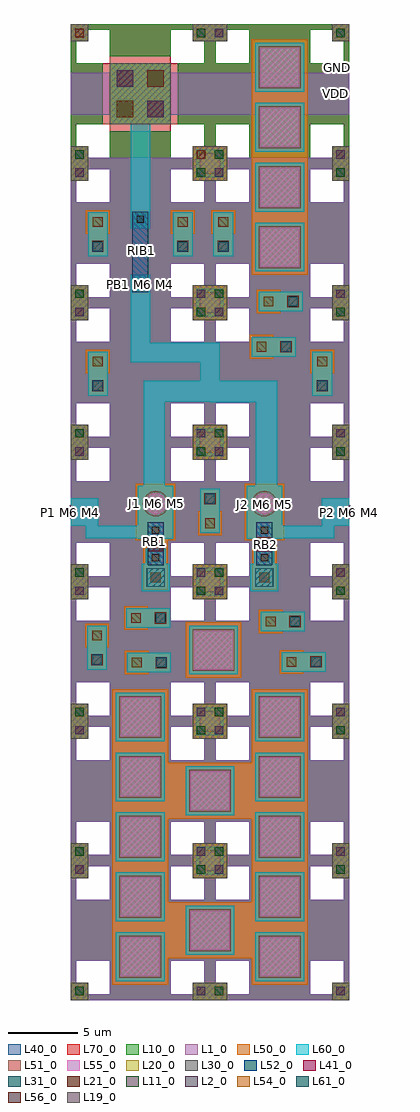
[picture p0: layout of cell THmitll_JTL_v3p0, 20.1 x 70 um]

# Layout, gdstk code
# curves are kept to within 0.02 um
from math import pi, radians
import gdstk
lib = gdstk.Library(unit=1e-6, precision=1e-09)
def R(c, l, rs):  # rectangles x0, y0, x1, y1
    for r in rs: c.add(gdstk.rectangle(r[:2], r[2:], *l))
def P(c, l, *ps):  # polygons
    for p in ps: c.add(gdstk.Polygon(p, *l))
L1_0 = (1, 0)
L2_0 = (2, 0)
L10_0 = (10, 0)
L11_0 = (11, 0)
L19_0 = (19, 0)
L20_0 = (20, 0)
L21_0 = (21, 0)
L30_0 = (30, 0)
L31_0 = (31, 0)
L40_0 = (40, 0)
L41_0 = (41, 0)
L50_0 = (50, 0)
L51_0 = (51, 0)
L52_0 = (52, 0)
L54_0 = (54, 0)
L55_0 = (55, 0)
L56_0 = (56, 0)
L60_0 = (60, 0)
L61_0 = (61, 0)
L70_0 = (70, 0)

ls_tr_m7_1 = lib.new_cell('ls_tr_M7$1')
P(ls_tr_m7_1, L70_0, [(0,0),(0,10),(1.25,10),(1.25,8.75),(0.4,8.75),(0.4,1.25),(1.25,1.25),(1.25,0.4),(2.8,0.4),(2.8,2.8),(0.4,2.8),(0.4,7.2),(2.8,7.2),(2.8,9.6),(1.25,9.6),(1.25,10),(7.2,10),(7.2,0.4),(8.75,0.4),(8.75,1.25),(9.6,1.25),(9.6,2.8),(7.2,2.8),(7.2,7.2),(9.6,7.2),(9.6,8.75),(8.75,8.75),(8.75,9.6),(7.2,9.6),(7.2,10),(10,10),(10,0)])

ls_tr_u_m4_nptl = lib.new_cell('ls_tr_u_M4_NPTL')
P(ls_tr_u_m4_nptl, L1_0, [(0,0),(0,10),(1.25,10),(1.25,8.75),(0.4,8.75),(0.4,1.25),(1.25,1.25),(1.25,0.4),(2.8,0.4),(2.8,2.8),(0.4,2.8),(0.4,7.2),(2.8,7.2),(2.8,9.6),(1.25,9.6),(1.25,10),(7.2,10),(7.2,0.4),(8.75,0.4),(8.75,1.25),(9.6,1.25),(9.6,2.8),(7.2,2.8),(7.2,7.2),(9.6,7.2),(9.6,8.75),(8.75,8.75),(8.75,9.6),(7.2,9.6),(7.2,10),(10,10),(10,0)])
R(ls_tr_u_m4_nptl, L2_0, [(9.05,0.35,9.65,0.95), (0.35,9.05,0.95,9.65)])
R(ls_tr_u_m4_nptl, L10_0, [(0,0,1.25,1.25), (8.75,0,10,1.25), (0,8.75,1.25,10), (8.75,8.75,10,10)])
P(ls_tr_u_m4_nptl, L10_0, [(1.25,0),(1.25,0.4),(2.8,0.4),(2.8,2.8),(0.4,2.8),(0.4,1.25),(0,1.25),(0,8.75),(0.4,8.75),(0.4,7.2),(2.8,7.2),(2.8,9.6),(1.25,9.6),(1.25,10),(8.75,10),(8.75,9.6),(7.2,9.6),(7.2,7.2),(9.6,7.2),(9.6,8.75),(10,8.75),(10,1.25),(9.6,1.25),(9.6,2.8),(7.2,2.8),(7.2,0.4),(8.75,0.4),(8.75,0)])
R(ls_tr_u_m4_nptl, L11_0, [(0.35,0.35,0.95,0.95), (9.05,9.05,9.65,9.65)])
R(ls_tr_u_m4_nptl, L20_0, [(0,0,1.25,1.25), (8.75,0,10,1.25), (0,8.75,1.25,10), (8.75,8.75,10,10)])
R(ls_tr_u_m4_nptl, L21_0, [(9.05,0.35,9.65,0.95), (0.35,9.05,0.95,9.65)])
R(ls_tr_u_m4_nptl, L30_0, [(0,0,1.25,1.25), (8.75,0,10,1.25), (0,8.75,1.25,10), (8.75,8.75,10,10)])
R(ls_tr_u_m4_nptl, L31_0, [(0.35,0.35,0.95,0.95), (9.05,9.05,9.65,9.65)])
P(ls_tr_u_m4_nptl, L40_0, [(0,0),(0,10),(1.25,10),(1.25,8.75),(0.4,8.75),(0.4,1.25),(1.25,1.25),(1.25,0.4),(2.8,0.4),(2.8,2.8),(0.4,2.8),(0.4,7.2),(2.8,7.2),(2.8,9.6),(1.25,9.6),(1.25,10),(7.2,10),(7.2,0.4),(8.75,0.4),(8.75,1.25),(9.6,1.25),(9.6,2.8),(7.2,2.8),(7.2,7.2),(9.6,7.2),(9.6,8.75),(8.75,8.75),(8.75,9.6),(7.2,9.6),(7.2,10),(10,10),(10,0)])
ls_tr_u_m4_nptl.add(gdstk.Reference(ls_tr_m7_1, (0,0)))

ls_tr_bias_pillar_m0m6 = lib.new_cell('ls_tr_bias_pillar_M0M6')
R(ls_tr_bias_pillar_m0m6, L1_0, [(0,0,1.25,1.25), (8.75,0,10,1.25), (2.8,2.8,7.2,7.2), (0,8.75,1.25,10), (8.75,8.75,10,10)])
R(ls_tr_bias_pillar_m0m6, L2_0, [(5.5,3.3,6.7,4.5), (3.3,5.5,4.5,6.7)])
R(ls_tr_bias_pillar_m0m6, L10_0, [(0,0,1.25,1.25), (8.75,0,10,1.25), (2.8,2.8,7.2,7.2), (0,8.75,1.25,10), (8.75,8.75,10,10)])
P(ls_tr_bias_pillar_m0m6, L10_0, [(0,0),(0,10),(7.2,10),(7.2,7.7),(2.8,7.7),(2.8,9.6),(1.25,9.6),(1.25,8.75),(0.4,8.75),(0.4,7.2),(2.3,7.2),(2.3,2.8),(0.4,2.8),(0.4,1.25),(1.25,1.25),(1.25,0.4),(2.8,0.4),(2.8,2.3),(7.2,2.3),(7.2,0.4),(8.75,0.4),(8.75,1.25),(9.6,1.25),(9.6,2.8),(7.7,2.8),(7.7,7.2),(9.6,7.2),(9.6,8.75),(8.75,8.75),(8.75,9.6),(7.2,9.6),(7.2,10),(10,10),(10,0)])
R(ls_tr_bias_pillar_m0m6, L11_0, [(0.35,0.35,0.95,0.95), (3.3,3.3,4.5,4.5), (5.5,5.5,6.7,6.7), (9.05,9.05,9.65,9.65)])
R(ls_tr_bias_pillar_m0m6, L20_0, [(0,0,1.25,1.25), (8.75,0,10,1.25), (2.8,2.8,7.2,7.2), (0,8.75,1.25,10), (8.75,8.75,10,10)])
R(ls_tr_bias_pillar_m0m6, L21_0, [(9.05,0.35,9.65,0.95), (5.5,3.3,6.7,4.5), (3.3,5.5,4.5,6.7), (0.35,9.05,0.95,9.65)])
R(ls_tr_bias_pillar_m0m6, L30_0, [(0,0,1.25,1.25), (8.75,0,10,1.25), (2.8,2.8,7.2,7.2), (0,8.75,1.25,10), (8.75,8.75,10,10)])
R(ls_tr_bias_pillar_m0m6, L31_0, [(0.35,0.35,0.95,0.95), (3.3,3.3,4.5,4.5), (5.5,5.5,6.7,6.7), (9.05,9.05,9.65,9.65)])
R(ls_tr_bias_pillar_m0m6, L40_0, [(2.8,2.8,7.2,7.2)])
P(ls_tr_bias_pillar_m0m6, L40_0, [(0,0),(0,10),(7.2,10),(7.2,7.7),(2.8,7.7),(2.8,9.6),(1.25,9.6),(1.25,8.75),(0.4,8.75),(0.4,7.2),(2.3,7.2),(2.3,2.8),(0.4,2.8),(0.4,1.25),(1.25,1.25),(1.25,0.4),(2.8,0.4),(2.8,2.3),(7.2,2.3),(7.2,0.4),(8.75,0.4),(8.75,1.25),(9.6,1.25),(9.6,2.8),(7.7,2.8),(7.7,7.2),(9.6,7.2),(9.6,8.75),(8.75,8.75),(8.75,9.6),(7.2,9.6),(7.2,10),(10,10),(10,0)])
R(ls_tr_bias_pillar_m0m6, L41_0, [(5.5,3.3,6.7,4.5), (3.3,5.5,4.5,6.7)])
R(ls_tr_bias_pillar_m0m6, L50_0, [(2.8,2.8,7.2,7.2)])
R(ls_tr_bias_pillar_m0m6, L54_0, [(3.3,3.3,4.5,4.5), (5.5,5.5,6.7,6.7)])
R(ls_tr_bias_pillar_m0m6, L60_0, [(2.8,2.8,7.2,7.2)])
P(ls_tr_bias_pillar_m0m6, L70_0, [(0,0),(0,10),(1.25,10),(1.25,8.75),(0.4,8.75),(0.4,1.25),(1.25,1.25),(1.25,0.4),(2.8,0.4),(2.8,2.8),(0.4,2.8),(0.4,7.2),(2.8,7.2),(2.8,9.6),(1.25,9.6),(1.25,10),(7.2,10),(7.2,0.4),(8.75,0.4),(8.75,1.25),(9.6,1.25),(9.6,2.8),(7.2,2.8),(7.2,7.2),(9.6,7.2),(9.6,8.75),(8.75,8.75),(8.75,9.6),(7.2,9.6),(7.2,10),(10,10),(10,0)])

ls_tr_m7 = lib.new_cell('ls_tr_M7')
P(ls_tr_m7, L70_0, [(0,0),(0,10),(1.25,10),(1.25,8.75),(0.4,8.75),(0.4,1.25),(1.25,1.25),(1.25,0.4),(2.8,0.4),(2.8,2.8),(0.4,2.8),(0.4,7.2),(2.8,7.2),(2.8,9.6),(1.25,9.6),(1.25,10),(7.2,10),(7.2,0.4),(8.75,0.4),(8.75,1.25),(9.6,1.25),(9.6,2.8),(7.2,2.8),(7.2,7.2),(9.6,7.2),(9.6,8.75),(8.75,8.75),(8.75,9.6),(7.2,9.6),(7.2,10),(10,10),(10,0)])

ls_tr_u_m4_alt = lib.new_cell('ls_tr_u_M4_alt')
R(ls_tr_u_m4_alt, L1_0, [(0,0,1.25,1.25), (8.75,0,10,1.25), (0,8.75,1.25,10), (8.75,8.75,10,10)])
R(ls_tr_u_m4_alt, L2_0, [(9.05,0.35,9.65,0.95), (0.35,9.05,0.95,9.65)])
R(ls_tr_u_m4_alt, L10_0, [(0,0,1.25,1.25), (1.25,0,8.75,0.4), (8.75,0,10,1.25), (2.8,0.4,7.2,9.6), (0,1.25,0.4,8.75), (9.6,1.25,10,8.75), (0.4,2.8,2.8,7.2), (7.2,2.8,9.6,7.2), (0,8.75,1.25,10), (8.75,8.75,10,10), (1.25,9.6,8.75,10)])
R(ls_tr_u_m4_alt, L11_0, [(0.35,0.35,0.95,0.95), (9.05,9.05,9.65,9.65)])
R(ls_tr_u_m4_alt, L20_0, [(0,0,1.25,1.25), (8.75,0,10,1.25), (0,8.75,1.25,10), (8.75,8.75,10,10)])
R(ls_tr_u_m4_alt, L21_0, [(9.05,0.35,9.65,0.95), (0.35,9.05,0.95,9.65)])
R(ls_tr_u_m4_alt, L30_0, [(0,0,1.25,1.25), (8.75,0,10,1.25), (0,8.75,1.25,10), (8.75,8.75,10,10)])
R(ls_tr_u_m4_alt, L31_0, [(0.35,0.35,0.95,0.95), (9.05,9.05,9.65,9.65)])
P(ls_tr_u_m4_alt, L40_0, [(0,0),(0,10),(1.25,10),(1.25,8.75),(0.4,8.75),(0.4,1.25),(1.25,1.25),(1.25,0.4),(2.8,0.4),(2.8,2.8),(0.4,2.8),(0.4,7.2),(2.8,7.2),(2.8,9.6),(1.25,9.6),(1.25,10),(7.2,10),(7.2,0.4),(8.75,0.4),(8.75,1.25),(9.6,1.25),(9.6,2.8),(7.2,2.8),(7.2,7.2),(9.6,7.2),(9.6,8.75),(8.75,8.75),(8.75,9.6),(7.2,9.6),(7.2,10),(10,10),(10,0)])
ls_tr_u_m4_alt.add(gdstk.Reference(ls_tr_m7, (0,0)))

ls_conn_m5m6m7 = lib.new_cell('ls_conn_M5M6M7')
R(ls_conn_m5m6m7, L60_0, [(-0.65,-0.65,1.35,1.35)])
R(ls_conn_m5m6m7, L61_0, [(-0.3,-0.3,1,1)])
R(ls_conn_m5m6m7, L70_0, [(-0.65,-0.65,1.35,1.35)])

th_jj_250_sg = lib.new_cell('th_jj_250_sg')
R(th_jj_250_sg, L41_0, [(-0.5,2.4,0.5,3.4)])
R(th_jj_250_sg, L50_0, [(-1.425,-1.425,1.425,2.625), (-0.875,2.625,0.875,6.175)])
P(th_jj_250_sg, L51_0, [(0,-0.91),(-0.18,-0.895),(-0.35,-0.84),(-0.645,-0.645),(-0.84,-0.35),(-0.91,0),(-0.895,0.18),(-0.84,0.35),(-0.645,0.645),(-0.35,0.84),(-0.18,0.895),(0,0.91),(0.18,0.895),(0.35,0.84),(0.645,0.645),(0.84,0.35),(0.895,0.18),(0.91,0),(0.84,-0.35),(0.645,-0.645),(0.35,-0.84),(0.18,-0.895)])
R(th_jj_250_sg, L52_0, [(-0.575,1.35,0.575,4.425)])
R(th_jj_250_sg, L54_0, [(-0.35,4.95,0.35,5.65)])
P(th_jj_250_sg, L55_0, [(0,-0.76),(-0.15,-0.75),(-0.29,-0.7),(-0.54,-0.54),(-0.7,-0.29),(-0.75,-0.15),(-0.76,0),(-0.75,0.15),(-0.7,0.29),(-0.54,0.54),(-0.29,0.7),(-0.15,0.75),(0,0.76),(0.15,0.75),(0.29,0.7),(0.54,0.54),(0.7,0.29),(0.75,0.15),(0.76,0),(0.75,-0.15),(0.7,-0.29),(0.54,-0.54),(0.29,-0.7),(0.15,-0.75)])
R(th_jj_250_sg, L56_0, [(-0.26,1.64,0.26,2.16), (-0.26,3.63,0.26,4.15)])
R(th_jj_250_sg, L60_0, [(-1.275,-1.275,1.275,2.525), (-0.725,3.25,0.725,6.025)])
th_jj_250_sg.add(gdstk.Reference(ls_conn_m5m6m7, (0.35,5.65), rotation=pi))

th_ib_350 = lib.new_cell('th_ib_350')
R(th_ib_350, L52_0, [(-0.575,0,0.575,5.8)])
R(th_ib_350, L56_0, [(-0.26,0.29,0.26,0.81), (-0.26,4.99,0.26,5.51)])
R(th_ib_350, L60_0, [(-0.625,-0.1,0.625,1.175), (-0.625,4.625,0.625,5.9)])

ls_fakejj_3umx3um = lib.new_cell('ls_FakeJJ_3umx3um')
R(ls_fakejj_3umx3um, L40_0, [(-2,-2,2,2)])
R(ls_fakejj_3umx3um, L50_0, [(-2,-2,2,2)])
R(ls_fakejj_3umx3um, L51_0, [(-1.5,-1.5,1.5,1.5)])
R(ls_fakejj_3umx3um, L55_0, [(-1.4,-1.4,1.4,1.4)])
R(ls_fakejj_3umx3um, L60_0, [(-1.75,-1.75,1.75,1.75)])

ls_fakejj_1p5x1p5um = lib.new_cell('ls_FakeJJ_1p5x1p5um')
R(ls_fakejj_1p5x1p5um, L40_0, [(-1.25,-1.25,1.25,1.25)])
R(ls_fakejj_1p5x1p5um, L50_0, [(-1.25,-1.25,1.25,1.25)])
R(ls_fakejj_1p5x1p5um, L51_0, [(-0.75,-0.75,0.75,0.75)])
R(ls_fakejj_1p5x1p5um, L55_0, [(-0.65,-0.65,0.65,0.65)])
R(ls_fakejj_1p5x1p5um, L60_0, [(-1,-1,1,1)])

ls_conn_m4m5m6m7 = lib.new_cell('ls_conn_M4M5M6M7')
R(ls_conn_m4m5m6m7, L40_0, [(0,0,1.4,1.4)])
R(ls_conn_m4m5m6m7, L41_0, [(0.3,0.3,1.1,1.1)])
P(ls_conn_m4m5m6m7, L50_0, [(1.6,-0.15),(1.6,0),(0,0),(0,1.4),(1.6,1.4),(1.6,1.55),(3.3,1.55),(3.3,-0.15)])
R(ls_conn_m4m5m6m7, L54_0, [(2.1,0.35,2.8,1.05)])
R(ls_conn_m4m5m6m7, L60_0, [(0,0,3.15,1.4)])
R(ls_conn_m4m5m6m7, L61_0, [(0.35,0.35,1.05,1.05)])
R(ls_conn_m4m5m6m7, L70_0, [(0,0,1.4,1.4)])

thmitll_jtl_v3p0 = lib.new_cell('THmitll_JTL_v3p0')
R(thmitll_jtl_v3p0, L1_0, [(1.25,60,8.75,60.4), (11.25,60,18.75,60.4)])
R(thmitll_jtl_v3p0, L19_0, [(4.75,51.05,5.25,51.55)])
R(thmitll_jtl_v3p0, L50_0, [(3,1.1,7,22.3), (13,1.1,17,22.3), (6.9,3,13.1,7), (6.9,13,13.1,17), (13,52,17,68.9)])
thmitll_jtl_v3p0.add(gdstk.FlexPath([(0,35),(2,35)], 2, ends="flush", simple_path=True, layer=60, datatype=0))  # L60_0
thmitll_jtl_v3p0.add(gdstk.FlexPath([(18,35),(20,35)], 2, ends="flush", simple_path=True, layer=60, datatype=0))  # L60_0
thmitll_jtl_v3p0.add(gdstk.FlexPath([(0,35),(1.55,35),(1.55,33.55),(4.95,33.55)], 0.9, ends="flush", simple_path=True, layer=60, datatype=0))  # L60_0
thmitll_jtl_v3p0.add(gdstk.FlexPath([(20,35),(18.45,35),(18.45,33.55),(15.05,33.55)], 0.9, ends="flush", simple_path=True, layer=60, datatype=0))  # L60_0
thmitll_jtl_v3p0.add(gdstk.FlexPath([(5,55.3),(5,63.05)], 1.4, ends="flush", simple_path=True, layer=60, datatype=0))  # L60_0
thmitll_jtl_v3p0.add(gdstk.FlexPath([(5,52),(5,46.45),(10,46.45),(10,43.55)], 1.4, ends="flush", simple_path=True, layer=60, datatype=0))  # L60_0
thmitll_jtl_v3p0.add(gdstk.FlexPath([(10,43.65),(14.05,43.65),(14.05,36.8)], 1.55, ends="flush", simple_path=True, layer=60, datatype=0))  # L60_0
thmitll_jtl_v3p0.add(gdstk.FlexPath([(10,43.65),(6,43.65),(6,36.75)], 1.5, ends="flush", simple_path=True, layer=60, datatype=0))  # L60_0
thmitll_jtl_v3p0.add(gdstk.FlexPath([(0,65),(20,65)], 3, ends="flush", simple_path=True, layer=1, datatype=0))  # L1_0
thmitll_jtl_v3p0.add(gdstk.FlexPath([(0,35.5),(0,34.5)], 0.1, ends="flush", simple_path=True, layer=19, datatype=0))  # L19_0
thmitll_jtl_v3p0.add(gdstk.FlexPath([(20,35.5),(20,34.5)], 0.1, ends="flush", simple_path=True, layer=19, datatype=0))  # L19_0
r = gdstk.Reference(ls_tr_u_m4_nptl, (0,0)); r.repetition = gdstk.Repetition(1, 6, v1=(0,0), v2=(0,10)); thmitll_jtl_v3p0.add(r)
r = gdstk.Reference(ls_tr_u_m4_nptl, (10,0)); r.repetition = gdstk.Repetition(1, 6, v1=(0,0), v2=(0,10)); thmitll_jtl_v3p0.add(r)
thmitll_jtl_v3p0.add(gdstk.Reference(ls_tr_bias_pillar_m0m6, (0,60)))
thmitll_jtl_v3p0.add(gdstk.Reference(ls_tr_u_m4_alt, (10,60)))
thmitll_jtl_v3p0.add(gdstk.Reference(th_jj_250_sg, (6.1,35.6), rotation=pi))
thmitll_jtl_v3p0.add(gdstk.Reference(th_jj_250_sg, (13.9,35.6), rotation=pi))
thmitll_jtl_v3p0.add(gdstk.Reference(th_ib_350, (5,56.55), rotation=pi))
r = gdstk.Reference(ls_fakejj_3umx3um, (5,20.3), rotation=pi); r.repetition = gdstk.Repetition(1, 5, v1=(0,0), v2=(0,-4.3)); thmitll_jtl_v3p0.add(r)
r = gdstk.Reference(ls_fakejj_3umx3um, (15,20.3), rotation=pi); r.repetition = gdstk.Repetition(1, 5, v1=(0,0), v2=(0,-4.3)); thmitll_jtl_v3p0.add(r)
thmitll_jtl_v3p0.add(gdstk.Reference(ls_fakejj_3umx3um, (10,15), rotation=pi))
thmitll_jtl_v3p0.add(gdstk.Reference(ls_fakejj_3umx3um, (10,5), rotation=pi))
thmitll_jtl_v3p0.add(gdstk.Reference(ls_fakejj_1p5x1p5um, (10,10), rotation=pi))
thmitll_jtl_v3p0.add(gdstk.Reference(ls_fakejj_1p5x1p5um, (10,20), rotation=pi))
thmitll_jtl_v3p0.add(gdstk.Reference(ls_fakejj_1p5x1p5um, (10,30), rotation=pi))
thmitll_jtl_v3p0.add(gdstk.Reference(ls_fakejj_1p5x1p5um, (10,40), rotation=pi))
thmitll_jtl_v3p0.add(gdstk.Reference(ls_fakejj_1p5x1p5um, (10,50), rotation=pi))
thmitll_jtl_v3p0.add(gdstk.Reference(ls_fakejj_1p5x1p5um, (10,60), rotation=pi))
thmitll_jtl_v3p0.add(gdstk.Reference(ls_conn_m4m5m6m7, (2.6,23.7), rotation=pi/2))
thmitll_jtl_v3p0.add(gdstk.Reference(ls_conn_m4m5m6m7, (7.2,24.9), rotation=pi))
thmitll_jtl_v3p0.add(gdstk.Reference(ls_conn_m4m5m6m7, (7.15,28.1), rotation=pi))
thmitll_jtl_v3p0.add(gdstk.Reference(ls_fakejj_3umx3um, (10.25,25.1), rotation=pi))
thmitll_jtl_v3p0.add(gdstk.Reference(ls_conn_m4m5m6m7, (16.8,27.85), rotation=pi))
thmitll_jtl_v3p0.add(gdstk.Reference(ls_conn_m4m5m6m7, (18.3,24.95), rotation=pi))
thmitll_jtl_v3p0.add(gdstk.Reference(ls_conn_m4m5m6m7, (9.3,36.65), rotation=3*pi/2))
thmitll_jtl_v3p0.add(gdstk.Reference(ls_conn_m4m5m6m7, (18.75,43.35), rotation=pi/2))
thmitll_jtl_v3p0.add(gdstk.Reference(ls_conn_m4m5m6m7, (2.65,43.35), rotation=pi/2))
thmitll_jtl_v3p0.add(gdstk.Reference(ls_conn_m4m5m6m7, (2.65,53.35), rotation=pi/2))
thmitll_jtl_v3p0.add(gdstk.Reference(ls_conn_m4m5m6m7, (8.75,53.35), rotation=pi/2))
r = gdstk.Reference(ls_fakejj_3umx3um, (15,54), rotation=pi/2); r.repetition = gdstk.Repetition(4, 1, v1=(0,4.3), v2=(0,0)); thmitll_jtl_v3p0.add(r)
thmitll_jtl_v3p0.add(gdstk.Reference(ls_conn_m4m5m6m7, (11.65,53.35), rotation=pi/2))
thmitll_jtl_v3p0.add(gdstk.Reference(ls_conn_m4m5m6m7, (16.65,50.8), rotation=pi))
thmitll_jtl_v3p0.add(gdstk.Reference(ls_conn_m4m5m6m7, (16.15,47.55), rotation=pi))
thmitll_jtl_v3p0.add(gdstk.Label('GND', (19.15,66.9), layer=40, texttype=0))
thmitll_jtl_v3p0.add(gdstk.Label('VDD', (19,65), layer=1, texttype=0))
thmitll_jtl_v3p0.add(gdstk.Label('PB1 M6 M4', (5,51.3), layer=182, texttype=0))
thmitll_jtl_v3p0.add(gdstk.Label('P1 M6 M4', (0,35), layer=182, texttype=0))
thmitll_jtl_v3p0.add(gdstk.Label('P2 M6 M4', (20,35), layer=182, texttype=0))
thmitll_jtl_v3p0.add(gdstk.Label('J1 M6 M5', (6.15,35.6), layer=182, texttype=0))
thmitll_jtl_v3p0.add(gdstk.Label('J2 M6 M5', (13.9,35.55), layer=182, texttype=0))
thmitll_jtl_v3p0.add(gdstk.Label('a', (0,35), layer=182, texttype=0))
thmitll_jtl_v3p0.add(gdstk.Label('q', (20,35), layer=182, texttype=0))
thmitll_jtl_v3p0.add(gdstk.Label('RIB1', (5.1,53.75), layer=52, texttype=11))
thmitll_jtl_v3p0.add(gdstk.Label('RB1', (6.05,32.85), layer=52, texttype=11))
thmitll_jtl_v3p0.add(gdstk.Label('RB2', (13.95,32.65), layer=52, texttype=11))
thmitll_jtl_v3p0.add(gdstk.Label('a', (0,35), layer=60, texttype=5))
thmitll_jtl_v3p0.add(gdstk.Label('q', (20,35), layer=60, texttype=5))

lib.write_gds('THmitll_JTL_v3p0.gds')
